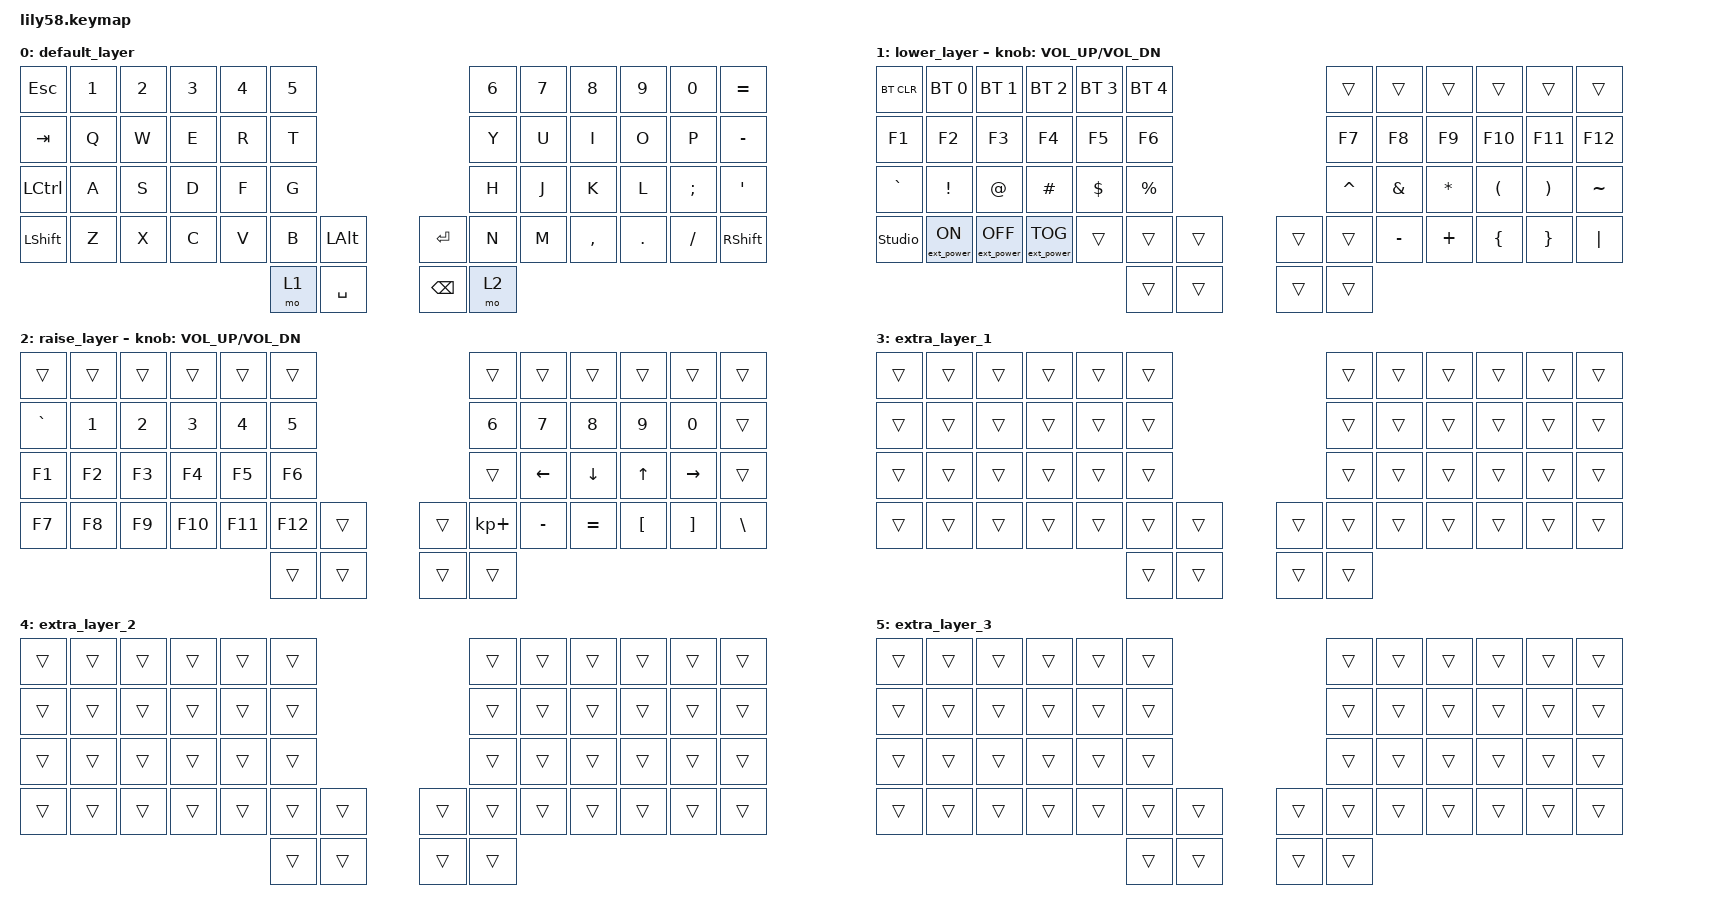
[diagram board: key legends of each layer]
/*
 * Copyright (c) 2020 The ZMK Contributors
 *
 * SPDX-License-Identifier: MIT
 */

#include <behaviors.dtsi>
#include <dt-bindings/zmk/bt.h>
#include <dt-bindings/zmk/ext_power.h>
#include <dt-bindings/zmk/keys.h>

/ {
    /* CUSTOM BEHAVIORS START HERE */
    behaviors {
        mtt: mod_tap_with_tap_preferred {
            compatible = "zmk,behavior-hold-tap";
            label = "MOD_TAP_TAP_PREFERRED";
            #binding-cells = <2>;
            tapping-term-ms = <200>;
            flavor = "tap-preferred";
            bindings = <&kp>, <&kp>;
        };
    };
    /* CUSTOM BEHAVIORS END HERE */
    keymap {
        compatible = "zmk,keymap";

        default_layer {
            // ------------------------------------------------------------------------------------------------------------
            // |  ESC  |  1  |  2  |  3   |  4   |  5   |                   |  6   |  7    |  8    |  9   |   0   |   `   |
            // |  TAB  |  Q  |  W  |  E   |  R   |  T   |                   |  Y   |  U    |  I    |  O   |   P   |   -   |
            // |  CTRL |  A  |  S  |  D   |  F   |  G   |                   |  H   |  J    |  K    |  L   |   ;   |   '   |
            // | SHIFT |  Z  |  X  |  C   |  V   |  B   |   "["  |  |  "]"  |  N   |  M    |  ,    |  .   |   /   | SHIFT |
            //                     | ALT  | GUI  | LOWER|  SPACE |  | ENTER | RAISE| BSPC  | GUI   |

            bindings = <
&kp ESC    &kp N1  &kp N2  &kp N3  &kp N4     &kp N5                                    &kp N6  &kp N7  &kp N8     &kp N9   &kp N0    &kp EQUAL
&kp TAB    &kp Q   &kp W   &kp E   &kp R      &kp T                                     &kp Y   &kp U   &kp I      &kp O    &kp P     &kp MINUS
&kp LCTRL  &kp A   &kp S   &kp D   &kp F      &kp G                                     &kp H   &kp J   &kp K      &kp L    &kp SEMI  &kp SQT
&kp LSHFT  &kp Z   &kp X   &kp C   &kp V      &kp B          &kp LEFT_ALT    &kp ENTER  &kp N   &kp M   &kp COMMA  &kp DOT  &kp FSLH  &kp RSHFT
                           &mo 1   &kp SPACE  &kp BACKSPACE  &mo 2
            >;
        };

        lower_layer {
            // ------------------------------------------------------------------------------------------------------------
            // | BTCLR | BT1 | BT2 |  BT3 |  BT4 |  BT5 |                   |      |       |       |      |       |       |
            // |  F1   |  F2 |  F3 |  F4  |  F5  |  F6  |                   |  F7  |  F8   |  F9   |  F10 |  F11  |  F12  |
            // |   `   |  !  |  @  |  #   |  $   |  %   |                   |  ^   |  &    |  *    |  (   |   )   |   ~   |
            // |       |     |     |      |      |      |        |  |       |      |  _    |  +    |  {   |   }   |  "|"  |
            //                     |      |      |      |        |  |       |      |       |       |

            bindings = <
&bt BT_CLR      &bt BT_SEL 0      &bt BT_SEL 1       &bt BT_SEL 2       &bt BT_SEL 3  &bt BT_SEL 4                    &trans     &trans     &trans     &trans    &trans    &trans
&kp F1          &kp F2            &kp F3             &kp F4             &kp F5        &kp F6                          &kp F7     &kp F8     &kp F9     &kp F10   &kp F11   &kp F12
&kp GRAVE       &kp EXCL          &kp AT             &kp HASH           &kp DOLLAR    &kp PRCNT                       &kp CARET  &kp AMPS   &kp ASTRK  &kp LPAR  &kp RPAR  &kp TILDE
&studio_unlock  &ext_power EP_ON  &ext_power EP_OFF  &ext_power EP_TOG  &trans        &trans        &trans    &trans  &trans     &kp MINUS  &kp PLUS   &kp LBRC  &kp RBRC  &kp PIPE
                                                     &trans             &trans        &trans        &trans
            >;

            sensor-bindings = <
&inc_dec_kp C_VOL_UP C_VOL_DN
            >;
        };

        raise_layer {
            // ------------------------------------------------------------------------------------------------------------
            // |       |     |     |      |      |      |                   |      |       |       |      |       |       |
            // |   `   |  1  |  2  |  3   |  4   |  5   |                   |  6   |   7   |   8   |  9   |   0   |       |
            // |   F1  |  F2 |  F3 |  F4  |  F5  |  F6  |                   |      |   <-  |   v   |  ^   |  ->   |       |
            // |   F7  |  F8 |  F9 |  F10 |  F11 |  F12 |        |  |       |  +   |   -   |   =   |  [   |   ]   |   \   |
            //                     |      |      |      |        |  |       |      |       |       |

            bindings = <
&trans     &trans  &trans  &trans   &trans   &trans                     &trans       &trans     &trans     &trans    &trans     &trans
&kp GRAVE  &kp N1  &kp N2  &kp N3   &kp N4   &kp N5                     &kp N6       &kp N7     &kp N8     &kp N9    &kp N0     &trans
&kp F1     &kp F2  &kp F3  &kp F4   &kp F5   &kp F6                     &trans       &kp LEFT   &kp DOWN   &kp UP    &kp RIGHT  &trans
&kp F7     &kp F8  &kp F9  &kp F10  &kp F11  &kp F12  &trans    &trans  &kp KP_PLUS  &kp MINUS  &kp EQUAL  &kp LBKT  &kp RBKT   &kp BSLH
                           &trans   &trans   &trans   &trans
            >;

            sensor-bindings = <
&inc_dec_kp C_VOL_UP C_VOL_DN
            >;
        };

        extra_layer_1 {
            bindings = <
&trans  &trans  &trans  &trans  &trans  &trans                    &trans  &trans  &trans  &trans  &trans  &trans
&trans  &trans  &trans  &trans  &trans  &trans                    &trans  &trans  &trans  &trans  &trans  &trans
&trans  &trans  &trans  &trans  &trans  &trans                    &trans  &trans  &trans  &trans  &trans  &trans
&trans  &trans  &trans  &trans  &trans  &trans  &trans    &trans  &trans  &trans  &trans  &trans  &trans  &trans
                        &trans  &trans  &trans  &trans
            >;
        };

        extra_layer_2 {
            bindings = <
&trans  &trans  &trans  &trans  &trans  &trans                    &trans  &trans  &trans  &trans  &trans  &trans
&trans  &trans  &trans  &trans  &trans  &trans                    &trans  &trans  &trans  &trans  &trans  &trans
&trans  &trans  &trans  &trans  &trans  &trans                    &trans  &trans  &trans  &trans  &trans  &trans
&trans  &trans  &trans  &trans  &trans  &trans  &trans    &trans  &trans  &trans  &trans  &trans  &trans  &trans
                        &trans  &trans  &trans  &trans
            >;
        };

        extra_layer_3 {
            bindings = <
&trans  &trans  &trans  &trans  &trans  &trans                    &trans  &trans  &trans  &trans  &trans  &trans
&trans  &trans  &trans  &trans  &trans  &trans                    &trans  &trans  &trans  &trans  &trans  &trans
&trans  &trans  &trans  &trans  &trans  &trans                    &trans  &trans  &trans  &trans  &trans  &trans
&trans  &trans  &trans  &trans  &trans  &trans  &trans    &trans  &trans  &trans  &trans  &trans  &trans  &trans
                        &trans  &trans  &trans  &trans
            >;
        };
    };
};
